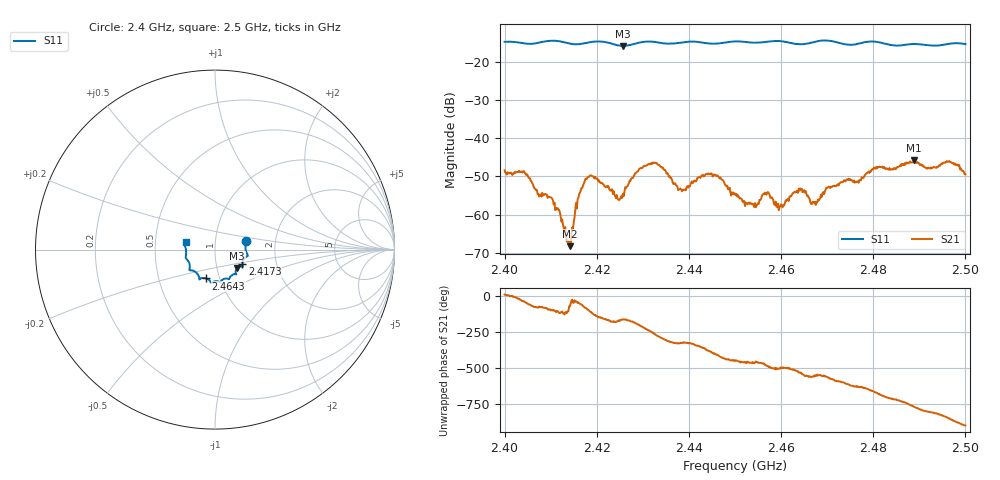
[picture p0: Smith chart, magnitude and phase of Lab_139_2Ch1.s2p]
# Hz S RI R 50
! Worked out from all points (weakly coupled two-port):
!   601 points, 2.4 GHz to 2.5 GHz, reference 50 ohm
!   highest |S21| = -45.86 dB at 2.4888 GHz (marker M1); lowest = -68.3 dB at 2.4142 GHz (marker M2)
!   lowest |S11| = -15.9 dB at 2.4257 GHz (marker M3), VSWR 1.38, Z = 62.4 - j13.1 ohm
!   |S11| at or under -10 dB: start of sweep to end of sweep
!   S12 and S22 are empty: the file has one direction only
!   S11 on the Smith chart (normalised r, x): 2.4 GHz: 1.41, +0.14; 2.4173 GHz: 1.34, -0.23; 2.4643 GHz: 0.86, -0.28; 2.5 GHz: 0.72, +0.06
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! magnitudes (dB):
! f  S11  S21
! 2.4 GHz  -14.9  -48.4
! 2.4045 GHz  -15.3  -49.3
! 2.41 GHz  -14.6  -55.5
! 2.4142 GHz  -15.3  -68.3
! 2.4167 GHz  -15.4  -53.1
! 2.4173 GHz  -15.2  -51.5
! 2.4192 GHz  -14.8  -50.0
! 2.4257 GHz  -15.9  -54.6
! 2.4292 GHz  -15.1  -48.1
! 2.4333 GHz  -15.0  -47.0
! 2.4382 GHz  -15.1  -53.2
! 2.4443 GHz  -15.3  -49.5
! 2.45 GHz  -14.7  -54.5
! 2.4543 GHz  -15.1  -57.0
! 2.457 GHz  -14.8  -54.2
! 2.46 GHz  -14.7  -57.3
! 2.4643 GHz  -15.5  -53.5
! 2.4667 GHz  -15.0  -57.3
! 2.4833 GHz  -15.6  -48.2
! 2.4888 GHz  -15.4  -45.9
! 2.4965 GHz  -15.4  -46.0
! 2.5 GHz  -15.5  -49.5
